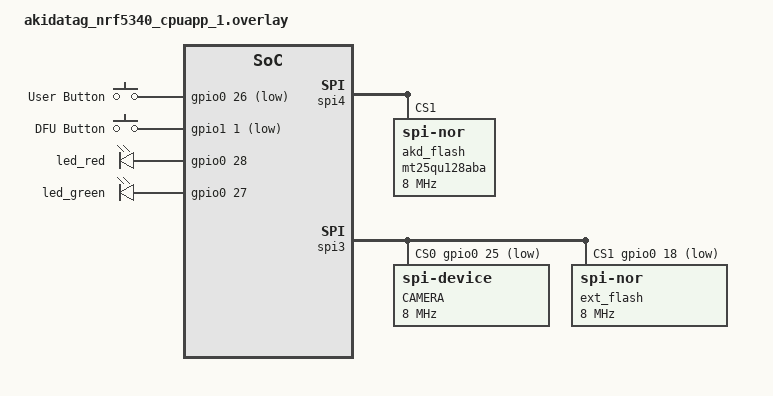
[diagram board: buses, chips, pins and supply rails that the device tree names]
/*
 * AkidaTag hardware revision 1: the camera shares SPIM3 with flash IC1, both
 * flashes are Micron MT25QU128ABA, and the board has a red and a green LED, a
 * user button and a DFU button.
 */

/ {
	chosen {
		nordic,pm-ext-flash = &ext_flash;
	};

	gpios {
		akdreset: akdreset {
			gpios = <&gpio1 13 GPIO_ACTIVE_HIGH>;
		};

		cam_enb: cam_enb {
			gpios = <&gpio1 15 GPIO_ACTIVE_HIGH>;
		};
	};

	custom_buttons {
		compatible = "gpio-keys";

		user_btn: user_btn {
			gpios = <&gpio0 26 (GPIO_PULL_UP | GPIO_ACTIVE_LOW)>;
			label = "User Button";
		};

		dfu_btn: dfu_btn {
			gpios = <&gpio1 1 (GPIO_PULL_UP | GPIO_ACTIVE_LOW)>;
			label = "DFU Button";
		};
	};

	custom_leds {
		compatible = "gpio-leds";

		led_red: led_red {
			gpios = <&gpio0 28 GPIO_ACTIVE_HIGH>;
		};

		led_green: led_green {
			gpios = <&gpio0 27 GPIO_ACTIVE_HIGH>;
		};
	};

	aliases {
		akdreset = &akdreset;
		cam-enb = &cam_enb;
		user-button = &user_btn;
		mcuboot-button0 = &dfu_btn;
		mcuboot-led0 = &led_red;
	};
};

&spi4 {
	akd_flash: mt25qu128aba@1 {
		compatible = "jedec,spi-nor";
		reg = <1>;
		spi-max-frequency = <8000000>;
		size = <DT_SIZE_M(128)>;
		jedec-id = [20 bb 18];
		has-dpd;
		t-enter-dpd = <10000>;
		t-exit-dpd = <35000>;
	};
};

&spi3 {
	cs-gpios = <&gpio0 25 GPIO_ACTIVE_LOW>,
		   <&gpio0 18 GPIO_ACTIVE_LOW>;

	camera: camera@0 {
		compatible = "spi-device";
		reg = <0>;
		spi-max-frequency = <8000000>;
		label = "CAMERA";
	};

	/* Named flash@0 although it is on chip select 1: the node name is also the
	 * device name, which the firmware image carries.
	 */
	ext_flash: flash@0 {
		compatible = "jedec,spi-nor";
		reg = <1>;
		spi-max-frequency = <8000000>;
		size = <DT_SIZE_M(128)>;
		jedec-id = [20 bb 18];
		has-dpd;
		t-enter-dpd = <10000>;
		t-exit-dpd = <35000>;
	};
};
